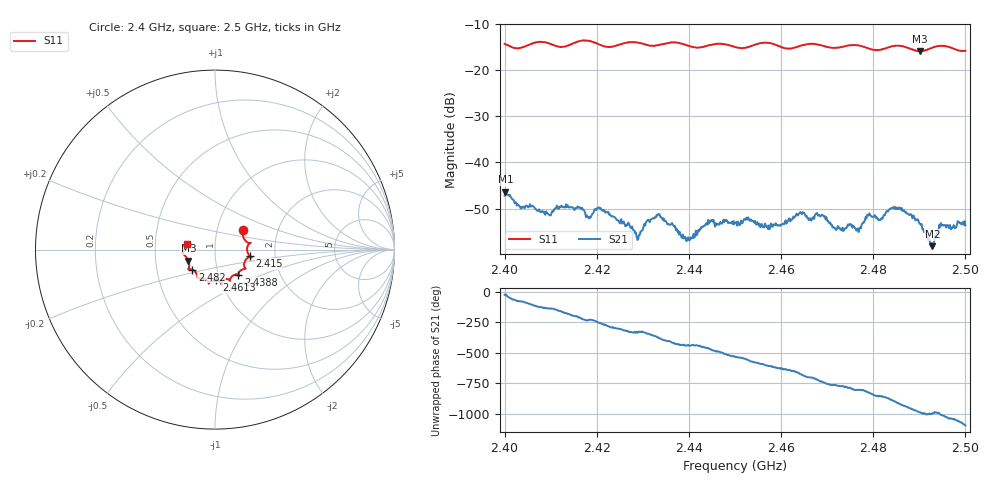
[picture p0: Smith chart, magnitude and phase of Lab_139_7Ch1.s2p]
# Hz S RI R 50
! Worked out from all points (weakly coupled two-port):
!   601 points, 2.4 GHz to 2.5 GHz, reference 50 ohm
!   highest |S21| = -46.33 dB at 2.4002 GHz (marker M1); lowest = -58.1 dB at 2.4928 GHz (marker M2)
!   lowest |S11| = -15.9 dB at 2.4902 GHz (marker M3), VSWR 1.38, Z = 36.8 - j4.65 ohm
!   |S11| at or under -10 dB: start of sweep to end of sweep
!   S12 and S22 are empty: the file has one direction only
!   S11 on the Smith chart (normalised r, x): 2.4 GHz: 1.33, +0.31; 2.415 GHz: 1.47, -0.11; 2.4388 GHz: 1.24, -0.36; 2.4613 GHz: 0.96, -0.34; 2.482 GHz: 0.76, -0.17; 2.5 GHz: 0.72, +0.05
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2.4e9  0.1575 0.1117  0.00391 -0.00194  0 0  0 0
2.400167e9  0.1568 0.1095  0.00414 -0.00248  0 0  0 0
2.409667e9  0.1916 0.0341  -0.00208 -0.00175  0 0  0 0
2.415e9  0.193 -0.0358  -0.003 0.00102  0 0  0 0
2.416667e9  0.2042 -0.0437  -0.00241 0.00195  0 0  0 0
2.418167e9  0.2039 -0.0421  -0.00147 0.00209  0 0  0 0
2.420833e9  0.181 -0.0474  -0.000682 0.00313  0 0  0 0
2.428833e9  0.1688 -0.1062  0.00132 0.000603  0 0  0 0
2.433333e9  0.1323 -0.1317  0.00265 -0.000664  0 0  0 0
2.438833e9  0.1295 -0.1409  0.00044 -0.00144  0 0  0 0
2.444667e9  0.0835 -0.1682  -0.000868 -0.00211  0 0  0 0
2.45e9  0.0687 -0.1646  -0.00219 -0.000372  0 0  0 0
2.461333e9  0.00783 -0.1712  0.000351 0.00223  0 0  0 0
2.466667e9  -0.0345 -0.1901  0.00226 0.000774  0 0  0 0
2.469e9  -0.0367 -0.1804  0.00256 -0.000813  0 0  0 0
2.473333e9  -0.0812 -0.1599  0.00124 -0.00153  0 0  0 0
2.482e9  -0.126 -0.1117  -0.00173 -0.00174  0 0  0 0
2.483333e9  -0.1397 -0.1088  -0.00264 -0.00147  0 0  0 0
2.490167e9  -0.1483 -0.0615  -0.00023 0.00215  0 0  0 0
2.492833e9  -0.1731 -0.0281  0.000154 0.00123  0 0  0 0
2.494833e9  -0.1825 -0.02  0.000636 0.00198  0 0  0 0
2.5e9  -0.1587 0.0328  0.00203 -0.000456  0 0  0 0
